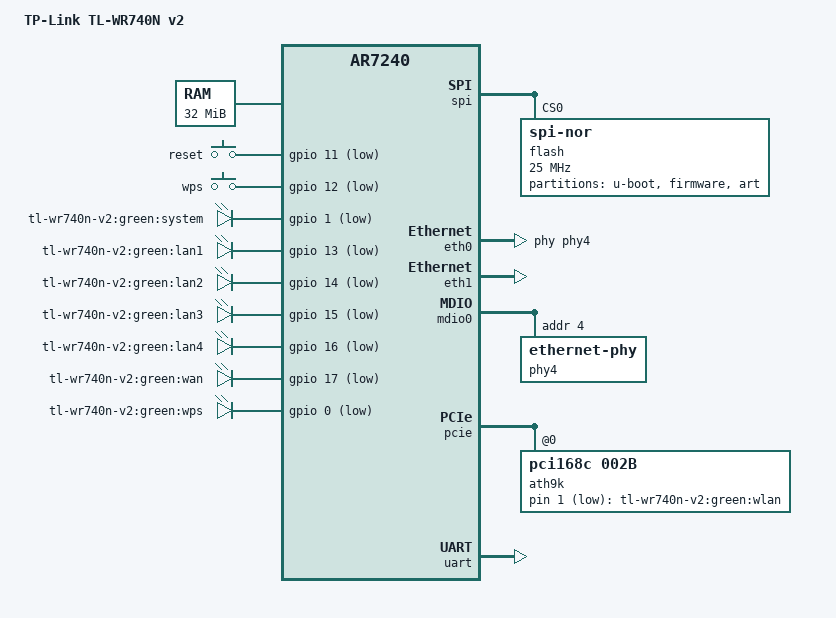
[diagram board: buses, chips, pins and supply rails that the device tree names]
// SPDX-License-Identifier: GPL-2.0-or-later OR MIT
/dts-v1/;

#include <dt-bindings/gpio/gpio.h>
#include <dt-bindings/input/input.h>

#include "ar7240.dtsi"

/ {
	compatible = "tplink,tl-wr740n-v2", "qca,ar7240";
	model = "TP-Link TL-WR740N v2";

	aliases {
		led-status = &led_system;
	};

	memory@0 {
		device_type = "memory";
		reg = <0x0 0x2000000>;
	};

	gpio-keys-polled {
		compatible = "gpio-keys-polled";
		#address-cells = <1>;
		#size-cells = <0>;
		poll-interval = <20>;

		reset {
			label = "reset";
			linux,code = <KEY_RESTART>;
			gpios = <&gpio 11 GPIO_ACTIVE_LOW>;
			debounce-interval = <60>;
		};

		wps {
			label = "wps";
			linux,code = <KEY_WPS_BUTTON>;
			gpios = <&gpio 12 GPIO_ACTIVE_LOW>;
			debounce-interval = <60>;
		};
	};

	gpio-leds {
		compatible = "gpio-leds";
		pinctrl-names = "default";
		pinctrl-0 = <&switch_led_pins>;

		led_system: system {
			label = "tl-wr740n-v2:green:system";
			gpios = <&gpio 1 GPIO_ACTIVE_LOW>;
		};

		lan1 {
			label = "tl-wr740n-v2:green:lan1";
			gpios = <&gpio 13 GPIO_ACTIVE_LOW>;
		};

		lan2 {
			label = "tl-wr740n-v2:green:lan2";
			gpios = <&gpio 14 GPIO_ACTIVE_LOW>;
		};

		lan3 {
			label = "tl-wr740n-v2:green:lan3";
			gpios = <&gpio 15 GPIO_ACTIVE_LOW>;
		};

		lan4 {
			label = "tl-wr740n-v2:green:lan4";
			gpios = <&gpio 16 GPIO_ACTIVE_LOW>;
		};

		wan {
			label = "tl-wr740n-v2:green:wan";
			gpios = <&gpio 17 GPIO_ACTIVE_LOW>;
		};

		wlan {
			label = "tl-wr740n-v2:green:wlan";
			gpios = <&ath9k 1 GPIO_ACTIVE_LOW>;
			default-state = "off";
			linux,default-trigger = "phy0tpt";
		};

		wps {
			label = "tl-wr740n-v2:green:wps";
			gpios = <&gpio 0 GPIO_ACTIVE_LOW>;
		};
	};
};

&spi {
	status = "okay";
	num-cs = <1>;

	flash@0 {
		#address-cells = <1>;
		#size-cells = <1>;
		compatible = "jedec,spi-nor";
		reg = <0>;
		spi-max-frequency = <25000000>;

		partitions {
			compatible = "fixed-partitions";
			#address-cells = <1>;
			#size-cells = <1>;

			uboot: partition@0 {
				reg = <0x0 0x20000>;
				label = "u-boot";
				read-only;
			};

			firmware: partition@20000 {
				reg = <0x20000 0x3d0000>;
				label = "firmware";
			};

			art: partition@3f0000 {
				reg = <0x3f0000 0x10000>;
				label = "art";
				read-only;
			};
		};
	};
};

&eth0 {
	status = "okay";

	phy-handle = <&phy4>;

	mtd-mac-address = <&uboot 0x1fc00>;
	mtd-mac-address-increment = <(-1)>;
};

&eth1 {
	status = "okay";

	mtd-mac-address = <&uboot 0x1fc00>;
	mtd-mac-address-increment = <1>;
};

&mdio0 {
	status = "okay";

	phy4: ethernet-phy@4 {
		reg = <4>;
		phy-mode = "mii";
	};
};

&pcie {
	status = "okay";

	ath9k: wifi@168c,002b {
		compatible = "pci168c,002b";
		reg = <0x0000 0 0 0 0>;
		qca,no-eeprom;
		mtd-mac-address = <&uboot 0x1fc00>;
		#gpio-cells = <2>;
		gpio-controller;
	};
};

&pinmux {
	switch_led_pins: pinmux_switch_led_pins {
		pinctrl-single,bits = <0x0 0x0 0xf8>;
	};
};

&uart {
	status = "okay";
};
